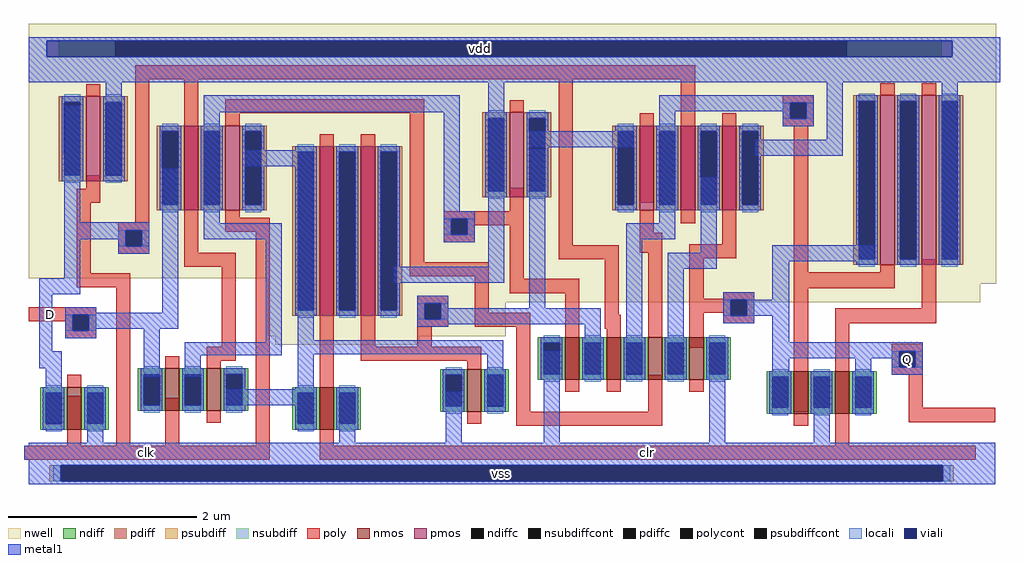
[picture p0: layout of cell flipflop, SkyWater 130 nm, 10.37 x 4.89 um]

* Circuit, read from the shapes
.subckt flipflop D Q clk clr vdd vss
XM1 vss clk n1 vss sky130_fd_pr__nfet_01v8 w=0.45 l=0.15
XM2 n2 clk D vss sky130_fd_pr__nfet_01v8 w=0.45 l=0.15
XM3 n3 n1 n2 vss sky130_fd_pr__nfet_01v8 w=0.45 l=0.15
XM4 vss clr n3 vss sky130_fd_pr__nfet_01v8 w=0.45 l=0.15
XM5 n3 n4 vss vss sky130_fd_pr__nfet_01v8 w=0.45 l=0.15
XM6 n4 n2 vss vss sky130_fd_pr__nfet_01v8 w=0.45 l=0.15
XM7 n5 n1 n4 vss sky130_fd_pr__nfet_01v8 w=0.45 l=0.15
XM8 n6 clk n5 vss sky130_fd_pr__nfet_01v8 w=0.45 l=0.15
XM9 vss Q n6 vss sky130_fd_pr__nfet_01v8 w=0.45 l=0.15
XM10 vss n5 Q vss sky130_fd_pr__nfet_01v8 w=0.45 l=0.15
XM11 Q clr vss vss sky130_fd_pr__nfet_01v8 w=0.45 l=0.15
XM12 vdd clk n1 vdd sky130_fd_pr__pfet_01v8 w=0.9 l=0.15
XM13 n2 n1 D vdd sky130_fd_pr__pfet_01v8 w=0.9 l=0.15
XM14 n3 clk n2 vdd sky130_fd_pr__pfet_01v8 w=0.9 l=0.15
XM15 n7 clr n3 vdd sky130_fd_pr__pfet_01v8 w=1.8 l=0.15
XM16 vdd n4 n7 vdd sky130_fd_pr__pfet_01v8 w=1.8 l=0.15
XM17 n4 n2 vdd vdd sky130_fd_pr__pfet_01v8 w=0.9 l=0.15
XM18 n5 clk n4 vdd sky130_fd_pr__pfet_01v8 w=0.9 l=0.15
XM19 n6 n1 n5 vdd sky130_fd_pr__pfet_01v8 w=0.9 l=0.15
XM20 vdd Q n6 vdd sky130_fd_pr__pfet_01v8 w=0.9 l=0.15
XM21 n8 n5 Q vdd sky130_fd_pr__pfet_01v8 w=1.8 l=0.15
XM22 vdd clr n8 vdd sky130_fd_pr__pfet_01v8 w=1.8 l=0.15
.ends

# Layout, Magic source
magic
tech sky130A
magscale 1 2
<< nwell >>
rect -676 816 1380 906
rect -676 486 1328 816
rect 1344 486 1380 816
rect -676 366 1380 486
rect -168 354 1380 366
rect -168 328 1346 354
rect -168 262 140 328
rect 150 314 1346 328
rect 150 262 338 314
rect -168 242 338 262
rect -142 228 66 242
<< psubdiff >>
rect -632 -66 -608 -32
rect 1266 -66 1290 -32
<< nsubdiff >>
rect -612 836 -492 870
rect 1062 836 1264 870
<< psubdiffcont >>
rect -608 -66 1266 -32
<< nsubdiffcont >>
rect -492 836 1062 870
<< poly >>
rect -450 788 740 818
rect -554 556 -524 584
rect -574 526 -524 556
rect -574 376 -544 526
rect -450 484 -420 788
rect -486 468 -420 484
rect -486 434 -470 468
rect -436 434 -420 468
rect -486 418 -420 434
rect -346 420 -316 788
rect -258 716 164 746
rect -258 690 -228 716
rect -258 464 -164 494
rect -346 390 -236 420
rect -574 346 -460 376
rect -676 288 -532 304
rect -676 274 -582 288
rect -598 254 -582 274
rect -548 254 -532 288
rect -598 238 -532 254
rect -594 10 -564 116
rect -490 10 -460 346
rect -266 220 -236 390
rect -298 190 -236 220
rect -386 10 -356 112
rect -194 10 -164 464
rect -686 -20 -164 10
rect -58 10 -28 670
rect 30 220 60 648
rect 134 400 164 716
rect 346 508 376 558
rect 206 492 376 508
rect 206 458 222 492
rect 256 478 376 492
rect 256 458 272 478
rect 206 442 272 458
rect 134 370 302 400
rect 150 312 216 328
rect 150 278 166 312
rect 200 278 216 312
rect 150 262 216 278
rect 272 292 302 370
rect 346 364 376 478
rect 450 436 480 788
rect 622 526 652 690
rect 622 462 652 506
rect 710 482 740 788
rect 926 738 992 754
rect 926 704 942 738
rect 976 704 992 738
rect 450 406 578 436
rect 622 420 670 462
rect 798 438 828 690
rect 926 688 992 704
rect 346 334 494 364
rect 272 262 390 292
rect 150 220 180 262
rect 30 190 286 220
rect 360 82 390 262
rect 464 124 494 334
rect 548 288 578 406
rect 548 258 582 288
rect 552 124 582 258
rect 640 240 670 420
rect 728 408 828 438
rect 728 322 758 408
rect 950 378 980 688
rect 950 344 1164 378
rect 800 322 866 336
rect 728 320 866 322
rect 728 292 816 320
rect 728 218 758 292
rect 800 286 816 292
rect 850 286 866 320
rect 800 270 866 286
rect 640 82 670 160
rect 950 82 980 344
rect 1222 302 1252 406
rect 1038 270 1252 302
rect 360 52 670 82
rect 1038 10 1068 270
rect 1158 210 1224 226
rect 1158 176 1174 210
rect 1208 176 1224 210
rect 1158 160 1224 176
rect 1194 90 1224 160
rect 1194 60 1378 90
rect -58 -20 1336 10
<< polycont >>
rect -470 434 -436 468
rect -582 254 -548 288
rect 222 458 256 492
rect 166 278 200 312
rect 942 704 976 738
rect 816 286 850 320
rect 1174 176 1208 210
<< locali >>
rect 926 704 942 738
rect 976 704 992 738
rect -486 434 -470 468
rect -436 434 -420 468
rect 206 458 222 492
rect 256 458 272 492
rect -598 254 -582 288
rect -548 254 -532 288
rect 150 278 166 312
rect 200 278 216 312
rect 800 286 816 320
rect 850 286 866 320
rect 1158 176 1174 210
rect 1208 176 1224 210
rect -624 -66 -608 -32
rect 1266 -66 1282 -32
<< viali >>
rect -638 836 -492 870
rect -492 836 1062 870
rect 1062 836 1286 870
rect 942 704 976 738
rect -470 434 -436 468
rect 222 458 256 492
rect -582 254 -548 288
rect 166 278 200 312
rect 816 286 850 320
rect 1174 176 1208 210
rect -608 -66 1266 -32
<< metal1 >>
rect -676 870 1388 878
rect -676 836 -638 870
rect 1286 836 1388 870
rect -676 782 1388 836
rect -512 742 -478 782
rect -598 626 -566 732
rect -600 484 -566 626
rect -510 586 -476 742
rect -304 718 240 754
rect -600 468 -420 484
rect -600 448 -470 468
rect -600 366 -566 448
rect -486 434 -470 448
rect -436 434 -420 468
rect -486 418 -420 434
rect -654 332 -566 366
rect -654 210 -626 332
rect -598 292 -532 304
rect -392 292 -358 598
rect -304 482 -270 718
rect -216 604 -70 638
rect -304 448 -138 482
rect -598 288 -358 292
rect -598 254 -582 288
rect -548 258 -358 288
rect -548 254 -532 258
rect -598 238 -532 254
rect -654 174 -606 210
rect -640 58 -606 174
rect -432 156 -398 258
rect -172 230 -138 448
rect -344 202 -138 230
rect -104 234 -70 604
rect 206 508 240 718
rect 206 492 272 508
rect 206 458 222 492
rect 256 458 272 492
rect 206 442 272 458
rect 300 390 334 782
rect 664 738 992 754
rect 664 720 942 738
rect 388 644 610 678
rect 100 356 334 390
rect 150 312 216 328
rect 150 278 166 312
rect 200 302 216 312
rect 388 302 422 640
rect 664 482 698 720
rect 926 704 942 720
rect 976 704 992 738
rect 926 688 992 704
rect 1020 660 1054 782
rect 868 626 1054 660
rect 594 448 698 482
rect 200 278 540 302
rect 150 268 540 278
rect 150 262 216 268
rect -104 204 332 234
rect -344 156 -310 202
rect -104 130 -70 204
rect -552 16 -518 122
rect -256 96 -70 130
rect -104 56 -70 96
rect -16 16 18 124
rect 210 16 244 124
rect 298 96 332 204
rect 418 16 452 210
rect 506 162 540 268
rect 594 164 628 448
rect 752 420 786 580
rect 682 386 786 420
rect 904 402 1120 436
rect 1264 406 1298 782
rect 682 162 716 386
rect 800 320 866 336
rect 904 320 940 402
rect 800 286 816 320
rect 850 286 940 320
rect 800 270 866 286
rect 904 230 940 286
rect 770 16 804 228
rect 904 210 1224 230
rect 904 196 1174 210
rect 904 88 940 196
rect 992 16 1026 156
rect 1080 90 1114 196
rect 1158 176 1174 196
rect 1208 176 1224 210
rect 1158 160 1224 176
rect -676 10 1378 16
rect -686 -20 1378 10
rect -676 -32 1378 -20
rect -676 -66 -608 -32
rect 1266 -66 1378 -32
rect -676 -72 1378 -66
use sky130_fd_pr__nfet_01v8_J836M4  sky130_fd_pr__nfet_01v8_J836M4_4
transform 1 0 -579 0 1 89
box -73 -71 73 71
use sky130_fd_pr__nfet_01v8_J836M4  sky130_fd_pr__nfet_01v8_J836M4_3
transform 1 0 -371 0 1 129
box -73 -71 73 71
use sky130_fd_pr__pfet_01v8_5UWV5B  sky130_fd_pr__pfet_01v8_5UWV5B_0
transform 1 0 -539 0 1 662
box -109 -152 109 152
use sky130_fd_pr__pfet_01v8_5UWV5B  sky130_fd_pr__pfet_01v8_5UWV5B_1
transform 1 0 -331 0 1 600
box -109 -152 109 152
use sky130_fd_pr__nfet_01v8_J836M4  sky130_fd_pr__nfet_01v8_J836M4_0
transform 1 0 -283 0 1 129
box -73 -71 73 71
use sky130_fd_pr__pfet_01v8_5UWV5B  sky130_fd_pr__pfet_01v8_5UWV5B_2
transform 1 0 -243 0 1 600
box -109 -152 109 152
use sky130_fd_pr__nfet_01v8_J836M4  sky130_fd_pr__nfet_01v8_J836M4_1
transform 1 0 -43 0 1 89
box -73 -71 73 71
use sky130_fd_pr__pfet_01v8_5CNMEE  sky130_fd_pr__pfet_01v8_5CNMEE_0
transform 1 0 45 0 1 466
box -109 -242 109 242
use sky130_fd_pr__pfet_01v8_5CNMEE  sky130_fd_pr__pfet_01v8_5CNMEE_3
transform 1 0 -43 0 1 466
box -109 -242 109 242
use sky130_fd_pr__nfet_01v8_J836M4  sky130_fd_pr__nfet_01v8_J836M4_2
transform 1 0 271 0 1 127
box -73 -71 73 71
use sky130_fd_pr__nfet_01v8_J836M4  sky130_fd_pr__nfet_01v8_J836M4_5
transform 1 0 479 0 1 195
box -73 -71 73 71
use sky130_fd_pr__pfet_01v8_5UWV5B  sky130_fd_pr__pfet_01v8_5UWV5B_3
transform 1 0 361 0 1 628
box -109 -152 109 152
use sky130_fd_pr__nfet_01v8_J836M4  sky130_fd_pr__nfet_01v8_J836M4_6
transform 1 0 567 0 1 195
box -73 -71 73 71
use sky130_fd_pr__nfet_01v8_J836M4  sky130_fd_pr__nfet_01v8_J836M4_7
transform 1 0 655 0 1 195
box -73 -71 73 71
use sky130_fd_pr__pfet_01v8_5UWV5B  sky130_fd_pr__pfet_01v8_5UWV5B_4
transform 1 0 637 0 1 600
box -109 -152 109 152
use sky130_fd_pr__pfet_01v8_5UWV5B  sky130_fd_pr__pfet_01v8_5UWV5B_5
transform 1 0 725 0 1 600
box -109 -152 109 152
use sky130_fd_pr__nfet_01v8_J836M4  sky130_fd_pr__nfet_01v8_J836M4_8
transform 1 0 743 0 1 195
box -73 -71 73 71
use sky130_fd_pr__pfet_01v8_5UWV5B  sky130_fd_pr__pfet_01v8_5UWV5B_6
transform 1 0 813 0 1 600
box -109 -152 109 152
use sky130_fd_pr__nfet_01v8_J836M4  sky130_fd_pr__nfet_01v8_J836M4_10
transform 1 0 1053 0 1 123
box -73 -71 73 71
use sky130_fd_pr__nfet_01v8_J836M4  sky130_fd_pr__nfet_01v8_J836M4_9
transform 1 0 965 0 1 123
box -73 -71 73 71
use sky130_fd_pr__pfet_01v8_5CNMEE  sky130_fd_pr__pfet_01v8_5CNMEE_1
transform 1 0 1149 0 1 574
box -109 -242 109 242
use sky130_fd_pr__pfet_01v8_5CNMEE  sky130_fd_pr__pfet_01v8_5CNMEE_2
transform 1 0 1237 0 1 574
box -109 -242 109 242
<< labels >>
rlabel poly -676 274 -582 304 1 D
rlabel poly -58 -20 1336 10 1 clr
rlabel poly -686 -20 -164 10 1 clk
rlabel metal1 1174 176 1208 210 1 Q
rlabel metal1 -608 -66 1266 -32 1 vss
rlabel nwell -492 836 1062 870 1 vdd
<< end >>

# cell sky130_fd_pr__nfet_01v8_J836M4: kit device sky130_fd_pr__nfet_01v8, w 0.45 l 0.150 m 1 nf 1 diffcov 100 polycov 100 guard 0 glc 0 grc 0 gtc 0 gbc 0 tbcov 100 rlcov 100 topc 0 botc 0 poverlap 0 doverlap 1 lmin 0.15 wmin 0.42 compatible {sky130_fd_pr__nfet_01v8 sky130_fd_pr__nfet_01v8_lvt sky130_fd_bs_flash__special_sonosfet_star sky130_fd_pr__nfet_g5v0d10v5 sky130_fd_pr__nfet_05v0_nvt} full_metal 0 viasrc 100 viadrn 100 viagate 100 viagb 0 viagr 0 viagl 0 viagt 0

# cell sky130_fd_pr__pfet_01v8_5UWV5B: kit device sky130_fd_pr__pfet_01v8, w 0.90 l 0.15 m 1 nf 1 diffcov 100 polycov 100 guard 0 glc 0 grc 0 gtc 0 gbc 0 tbcov 100 rlcov 100 topc 0 botc 0 poverlap 0 doverlap 1 lmin 0.15 wmin 0.42 compatible {sky130_fd_pr__pfet_01v8 sky130_fd_pr__pfet_01v8_lvt sky130_fd_pr__pfet_01v8_hvt sky130_fd_pr__pfet_g5v0d10v5} full_metal 0 viasrc 100 viadrn 100 viagate 100 viagb 0 viagr 0 viagl 0 viagt 0

# cell sky130_fd_pr__pfet_01v8_5CNMEE: kit device sky130_fd_pr__pfet_01v8, w 1.8 l 0.15 m 1 nf 1 diffcov 100 polycov 100 guard 0 glc 0 grc 0 gtc 0 gbc 0 tbcov 100 rlcov 100 topc 0 botc 0 poverlap 0 doverlap 1 lmin 0.15 wmin 0.42 compatible {sky130_fd_pr__pfet_01v8 sky130_fd_pr__pfet_01v8_lvt sky130_fd_pr__pfet_01v8_hvt sky130_fd_pr__pfet_g5v0d10v5} full_metal 0 viasrc 100 viadrn 100 viagate 100 viagb 0 viagr 0 viagl 0 viagt 0
